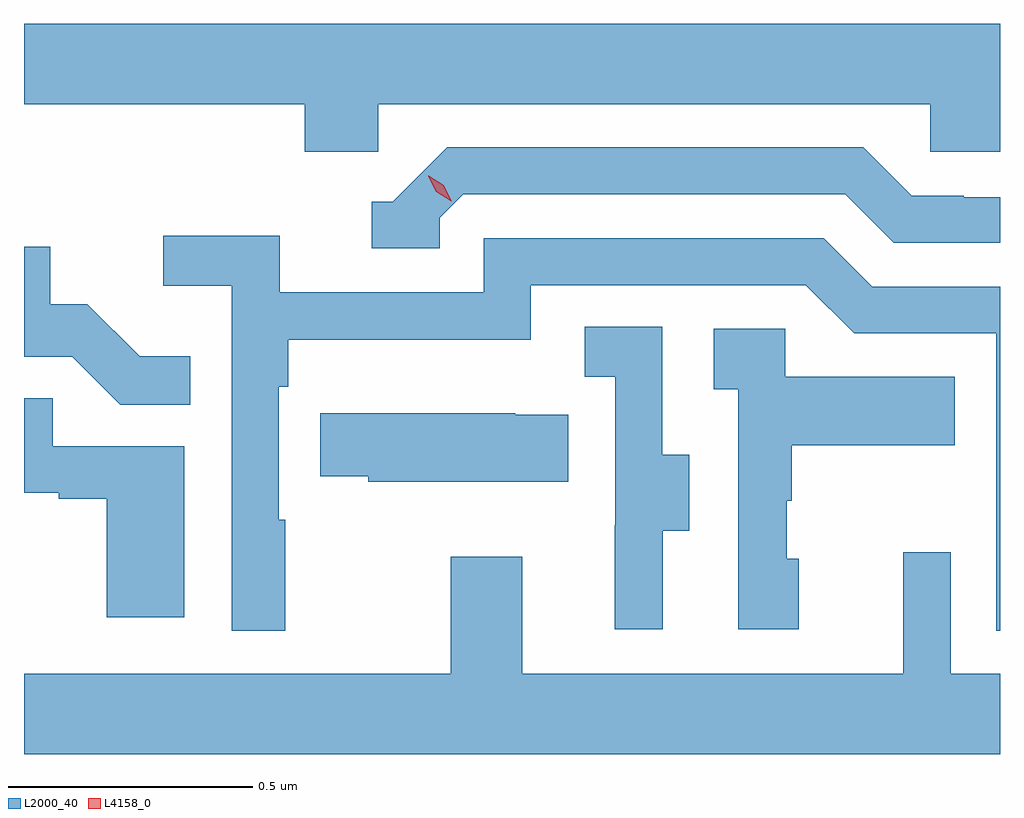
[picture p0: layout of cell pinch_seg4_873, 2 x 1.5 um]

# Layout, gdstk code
import gdstk
lib = gdstk.Library(unit=1e-6, precision=1e-09)
def P(c, l, *ps):  # polygons
    for p in ps: c.add(gdstk.Polygon(p, *l))
L2000_40 = (2000, 40)
L4158_0 = (4158, 0)

pinch_seg4_873 = lib.new_cell('pinch_seg4_873')
P(pinch_seg4_873, L2000_40, [(863.364,804.812),(863.939,804.812),(863.939,804.714),(864.09,804.714),(864.09,804.812),(865.221,804.812),(865.221,804.714),(865.364,804.714),(865.364,804.976),(863.364,804.976)],
  [(864.216,804.579),(864.264,804.627),(865.047,804.627),(865.146,804.528),(865.364,804.528),(865.364,804.621),(865.29,804.621),(865.29,804.624),(865.183,804.624),(865.084,804.723),(864.231,804.723),(864.12,804.612),(864.077,804.612),(864.077,804.516),(864.216,804.516)],
  [(863.899,803.96),(863.886,803.96),(863.886,804.233),(863.906,804.233),(863.906,804.329),(864.402,804.329),(864.402,804.441),(864.966,804.441),(865.065,804.342),(865.356,804.342),(865.356,803.733),(865.364,803.733),(865.364,804.438),(865.102,804.438),(865.003,804.537),(864.306,804.537),(864.306,804.426),(863.888,804.426),(863.888,804.542),(863.649,804.542),(863.649,804.44),(863.79,804.44),(863.79,803.733),(863.899,803.733)],
  [(863.705,804.295),(863.601,804.295),(863.494,804.402),(863.418,804.402),(863.418,804.519),(863.364,804.519),(863.364,804.294),(863.463,804.294),(863.561,804.196),(863.705,804.196)],
  [(864.673,803.938),(864.727,803.938),(864.727,804.093),(864.672,804.093),(864.672,804.356),(864.513,804.356),(864.513,804.253),(864.576,804.253),(864.576,803.949),(864.575,803.949),(864.575,803.736),(864.673,803.736)],
  [(864.952,803.88),(864.927,803.88),(864.927,803.999),(864.937,803.999),(864.937,804.113),(865.271,804.113),(865.271,804.253),(864.924,804.253),(864.924,804.351),(864.777,804.351),(864.777,804.227),(864.828,804.227),(864.828,803.736),(864.952,803.736)],
  [(863.692,804.111),(863.423,804.111),(863.423,804.209),(863.364,804.209),(863.364,804.015),(863.435,804.015),(863.435,804.003),(863.534,804.003),(863.534,803.76),(863.692,803.76)],
  [(864.479,804.175),(864.371,804.175),(864.371,804.178),(863.971,804.178),(863.971,804.049),(864.069,804.049),(864.069,804.038),(864.479,804.038)],
  [(865.364,803.644),(865.263,803.644),(865.263,803.893),(865.166,803.893),(865.166,803.644),(864.385,803.644),(864.385,803.884),(864.238,803.884),(864.238,803.644),(863.364,803.644),(863.364,803.48),(865.364,803.48)])
P(pinch_seg4_873, L4158_0, [(864.24,804.613),(864.209,804.632),(864.192,804.664),(864.192,804.665),(864.193,804.665),(864.224,804.646),(864.24,804.614),(864.24,804.613)])

lib.write_gds('pinch_seg4_873.gds')
